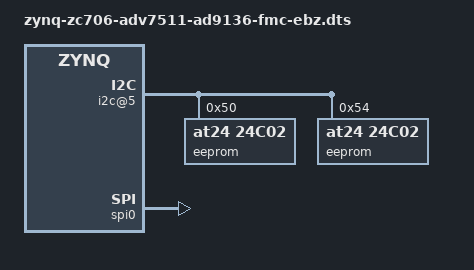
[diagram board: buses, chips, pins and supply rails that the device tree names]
/dts-v1/;

/include/ "zynq-zc706.dtsi"
/include/ "zynq-zc706-adv7511.dtsi"

&i2c_mux {
	i2c@5 { /* HPC IIC */
		#address-cells = <1>;
		#size-cells = <0>;
		reg = <5>;

		eeprom@50 {
			compatible = "at24,24c02";
			reg = <0x50>;
		};

		eeprom@54 {
			compatible = "at24,24c02";
			reg = <0x54>;
		};
	};
};


&fpga_axi {
	tx_dma: dma@7c420000 {
		compatible = "adi,axi-dmac-1.00.a";
		reg = <0x7c420000 0x10000>;

		interrupts = <0 56 0>;
		clocks = <&clkc 16>;

		#dma-cells = <1>;

		dma-channel {
			adi,source-bus-width = <64>;
			adi,destination-bus-width = <256>;
			adi,type = <1>;
			adi,cyclic;
		};
	};

	jesd204_tpl: jesd204-transport-layer@44a04000 {
		compatible = "adi,axi-ad9136-1.0";
		reg = <0x44a04000 0x4000>;

		dmas = <&tx_dma 0>;
		dma-names = "tx";

		spibus-connected = <&ad9136>;
		adi,axi-pl-fifo-enable;
	};

	jesd204_link: jesd204-link-layer@44a90000 {
		compatible = "adi,axi-jesd204-tx-1.0";
		reg = <0x44a90000 0x1000>;

		interrupts = <0 54 0>;

		clocks = <&clkc 16>, <&ad9516 9>, <&jesd204_phy 0>;
		clock-names = "s_axi_aclk", "device_clk", "lane_clk";

		adi,octets-per-frame = <1>;
		adi,frames-per-multiframe = <32>;
		adi,converter-resolution = <16>;
		adi,bits-per-sample = <16>;
		adi,converters-per-device = <2>;

		#clock-cells = <0>;
		clock-output-names = "jesd_dac_lane_clk";
	};

	jesd204_phy: jesd204-phy@44a60000 {
		compatible = "adi,axi-adxcvr-1.0";
		reg = <0x44a60000 0x1000>;

		clocks = <&ad9516 9>, <&ad9516 9>;
		clock-names = "conv", "div40";

		#clock-cells = <1>;
		clock-output-names = "dac_gt_clk", "tx_out_clk";

		adi,sys-clk-select = <3>;
		adi,out-clk-select = <4>;
		adi,use-lpm-enable;
//		adi,use-cpll-enable;
	};
};

&spi0 {
	status = "okay";
};

#define fmc_spi spi0

#include "adi-ad9136-fmc-ebz.dtsi"

&ad9136 {
	txen-gpios = <&gpio0 86 0>, <&gpio0 87 0>;
};
